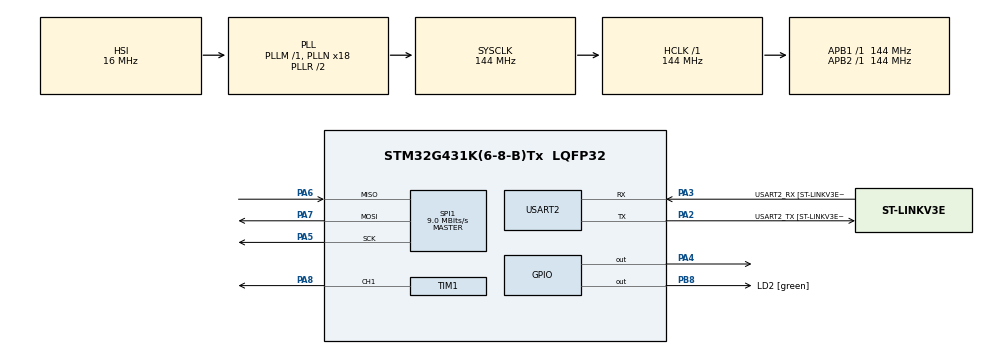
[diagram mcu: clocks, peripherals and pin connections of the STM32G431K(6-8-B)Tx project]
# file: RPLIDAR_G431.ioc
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FATFS._MAX_SS=4096
FATFS._USE_LFN=1
Mcu.Family=STM32G4
Mcu.Name=STM32G431K(6-8-B)Tx
Mcu.Package=LQFP32
NVIC.PriorityGroup=NVIC_PRIORITYGROUP_4
PA13.GPIO_Label=T_SWDIO
PA13.Mode=Serial_Wire
PA13.Signal=SYS_JTMS-SWDIO
PA14.GPIO_Label=T_SWCLK
PA14.Mode=Serial_Wire
PA14.Signal=SYS_JTCK-SWCLK
PA2.GPIO_Label=USART2_TX [ST-LINKV3E_VCP_RX]
PA2.Mode=Asynchronous
PA2.Signal=USART2_TX
PA3.GPIO_Label=USART2_RX [ST-LINKV3E_VCP_TX]
PA3.Mode=Asynchronous
PA3.Signal=USART2_RX
PA4.Signal=GPIO_Output
PA5.Mode=Full_Duplex_Master
PA5.Signal=SPI1_SCK
PA6.Mode=Full_Duplex_Master
PA6.Signal=SPI1_MISO
PA7.Mode=Full_Duplex_Master
PA7.Signal=SPI1_MOSI
PA8.Signal=S_TIM1_CH1
PB8-BOOT0.GPIO_Label=LD2 [green]
PB8-BOOT0.Signal=GPIO_Output
ProjectManager.HeapSize=0x200
ProjectManager.StackSize=0x400
ProjectManager.TargetToolchain=STM32CubeIDE
RCC.ADC12Freq_Value=144000000
RCC.AHBFreq_Value=144000000
RCC.APB1Freq_Value=144000000
RCC.APB1TimFreq_Value=144000000
RCC.APB2Freq_Value=144000000
RCC.APB2TimFreq_Value=144000000
RCC.CortexFreq_Value=144000000
RCC.EXTERNAL_CLOCK_VALUE=12288000
RCC.HCLKFreq_Value=144000000
RCC.HSE_VALUE=8000000
RCC.HSI48_VALUE=48000000
RCC.HSI_VALUE=16000000
RCC.LSE_VALUE=32768
RCC.PLLN=18
RCC.SYSCLKFreq_VALUE=144000000
RCC.SYSCLKSource=RCC_SYSCLKSOURCE_PLLCLK
RCC.USBFreq_Value=144000000
RCC.VCOOutputFreq_Value=288000000
SH.S_TIM1_CH1.0=TIM1_CH1,PWM Generation1 CH1
SPI1.BaudRatePrescaler=SPI_BAUDRATEPRESCALER_16
SPI1.CalculateBaudRate=9.0 MBits/s
SPI1.DataSize=SPI_DATASIZE_8BIT
SPI1.Direction=SPI_DIRECTION_2LINES
SPI1.Mode=SPI_MODE_MASTER
SPI1.VirtualType=VM_MASTER
TIM1.AutoReloadPreload=TIM_AUTORELOAD_PRELOAD_ENABLE
TIM1.Channel-PWM\ Generation1\ CH1=TIM_CHANNEL_1
TIM1.PeriodNoDither=5760-1
USART2.VirtualMode-Asynchronous=VM_ASYNC
VP_FATFS_VS_Generic.Mode=User_defined
VP_SYS_VS_DBSignals.Mode=DisableDeadBatterySignals
VP_TIM1_VS_ClockSourceINT.Mode=Internal
board=NUCLEO-G431KB

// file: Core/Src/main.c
/* USER CODE BEGIN Header */
/**
  ******************************************************************************
  * @file           : main.c
  * @brief          : Main program body
  ******************************************************************************
  * @attention
  *
  * Copyright (c) 2022 STMicroelectronics.
  * All rights reserved.
  *
  * This software is licensed under terms that can be found in the LICENSE file
  * in the root directory of this software component.
  * If no LICENSE file comes with this software, it is provided AS-IS.
  *
  ******************************************************************************
  */
/* USER CODE END Header */
#include "main.h"
#include "app_fatfs.h"

/* USER CODE BEGIN Includes */
#include "math.h"
#include "uart_buf_g4.h"
#include "string.h"
#include "fatfs_sd.h"
#include "stdio.h"
/* USER CODE END Includes */

/* USER CODE BEGIN PD */
#define STOP_RPL            0x25
#define RESET_RPL           0x40
#define SCAN_RPL            0x20
#define FORCE_SCAN_RPL      0x21
#define GET_INFO_RPL        0x50
#define GET_HEALTH_RPL      0x52
#define GET_SAMPLERATE_RPL  0x59
#define GET_LIDAR_CONF_RPL  0x84
/*StarFlags*/
#define START_FLAG_1         0xA5
#define START_FLAG_2         0x5A
/*Tamaños del buffer*/
/* USER CODE END PD */

SPI_HandleTypeDef hspi1;

TIM_HandleTypeDef htim1;

UART_HandleTypeDef huart2;

/* USER CODE BEGIN PV */
// MainBuf[MainBuf_SIZE];
uint8_t ReceivingData=false;
bool Aflag=true;
//char MainBuf[MainBuf_SIZE];
char StrBufA[205*20];
char StrBufB[205*20];
char MainBuf[5];
char chars_buf[40];
uint8_t n_points=0;

const uint8_t STOP_REQUEST[2]={START_FLAG_1,STOP_RPL};
const uint8_t RESET_REQUEST[2]={START_FLAG_1,RESET_RPL};
const uint8_t SCAN_REQUEST[2]={START_FLAG_1,SCAN_RPL};
const uint8_t SCAN_DESCRIPTOR[7]={START_FLAG_1,START_FLAG_2,0x05,0x00,0x00,0x40,0x81};
const uint8_t EXPRESS_SCAN_REQUEST[9]={START_FLAG_1,0x82,0x05,0x00,0x00,0x00,0x00,0x00,0x22};
const uint8_t EXPRESS_SCAN_DESCRIPTOR[7]={START_FLAG_1,START_FLAG_2,0x54,0x00,0x00,0x40,0x82};
const uint8_t GET_HEALTH_REQUEST[2]={START_FLAG_1,GET_HEALTH_RPL};
const uint8_t GET_HEALTH_DESCRIPTOR[7]={START_FLAG_1,START_FLAG_2,0x03,0x00,0x00,0x00,0x06};
const uint8_t GET_INFO_REQUEST[2]={START_FLAG_1,GET_INFO_RPL};
const uint8_t GET_INFO_DESCRIPTOR[7]={START_FLAG_1,START_FLAG_2,0x14,0x00,0x00,0x00,0x04};
const uint8_t GET_SAMPLERATE_REQUEST[2]={START_FLAG_1,GET_SAMPLERATE_RPL};
const uint8_t GET_SAMPLERATE_DESCRIPTOR[7]={START_FLAG_1,START_FLAG_2,0x4,0x00,0x00,0x00,0x15};
const uint8_t FORCE_SCAN_REQUEST[7]={START_FLAG_1,FORCE_SCAN_RPL};

/*Variables involucradas para la SD*/
FATFS fs;  // file system
FIL fil; // File
FRESULT fresult;  // result
UINT br, bw;  // File read/write count

// *************************** //
uint8_t opcion;
/* USER CODE END PV */

void SystemClock_Config(void);
static void MX_GPIO_Init(void);
static void MX_TIM1_Init(void);
static void MX_USART2_UART_Init(void);
static void MX_SPI1_Init(void);
/* USER CODE BEGIN PFP */

void setMotorDutyCycle(float duty){
	HAL_TIM_PWM_Stop(&htim1, TIM_CHANNEL_1);
	HAL_Delay(3);
	if (duty!=0){
		//El ARR tiene como valor máximo 6800@170Mhz
		TIM1->CCR1 = (uint32_t)duty*57.6;
		//TIM1->CCR1 = (uint32_t)duty*64.0;
		HAL_TIM_PWM_Start(&htim1, TIM_CHANNEL_1);
		HAL_Delay(3);
	}
}
void SEND_STOP_REQUEST(){
	//Enviamos el comando por uart
	setMotorDutyCycle(0);
	UART1buf_putn(STOP_REQUEST,2);
	//Delay >2ms para poder enviar otro request
	HAL_Delay(2);
}
void SEND_RESET_REQUEST(){
	//Enviamos el comando por uart
	UART1buf_putn(RESET_REQUEST,2);
	//Esperamos a recibir la data basura
	while(UART1buf_available()==0);
	//Delay >20ms para poder recibir toda la data basura
	HAL_Delay(50);
	//Limpiamos la data basura
	UART1buf_flushRx();
}
void SEND_GET_SAMPLERATE(){
	unsigned int temp;
	char charBuf[40];
	//Enviamos el comando por uart
	LPUART1buf_puts("Enviando comando GET_SAMPLERATE\n\r");
	UART1buf_putn(GET_SAMPLERATE_REQUEST,2);
	//Comenzamos a recibir los primeros 7 valores y verificamos si hay error
	for (int i=0;i<7;i++){
		while(UART1buf_peek()<0);
		if (GET_SAMPLERATE_DESCRIPTOR[i]!=UART1buf_getc()){
			LPUART1buf_puts((char*)"Error\n");
			//Enviar nuevamente el comando

			//Analizar si está en protección
			while(1);
		}
	}
	//Recibimos el T standard
	while(UART1buf_peek()<0);
	temp=UART1buf_getc();
	while(UART1buf_peek()<0);
	temp=(UART1buf_getc()<<8)|temp;
	//enviamos el Tstandar
	sprintf(charBuf,"Tiempo standard: %d us\n\r",temp);
	//Recibimos el T express
	LPUART1buf_puts(charBuf);
	while(UART1buf_peek()<0);
	temp=UART1buf_getc();
	while(UART1buf_peek()<0);
	temp=(UART1buf_getc()<<8)|temp;
	//enviamos el Texpress
	sprintf(charBuf,"Tiempo express: %d us\n\r",temp);
	LPUART1buf_puts(charBuf);
	HAL_Delay(50);
}
void SEND_GET_HEALTH(){
	unsigned int temp;
	char charBuf[40];
	//Enviamos el comando por uart
	LPUART1buf_puts("Enviando comando GET_HEALTH\n\r");
	UART1buf_putn(GET_HEALTH_REQUEST,2);
	//Comenzamos a recibir los primeros 7 valores y verificamos si hay error
	for (int i=0;i<7;i++){
		while(UART1buf_peek()<0);
		if (GET_HEALTH_DESCRIPTOR[i]!=UART1buf_getc()){
			LPUART1buf_puts((char*)"Error\n");
			//Enviar nuevamente el comando

			//Analizar si está en protección
			while(1);
		}
	}
	//Recibimos el status
	while(UART1buf_peek()<0);
	temp=UART1buf_getc();
	if (temp==0){
		LPUART1buf_puts("Todo en orden!\n\r");
		while(UART1buf_peek()<0);
		UART1buf_getc();
		while(UART1buf_peek()<0);
		UART1buf_getc();
	}
	//Warning
	else if (temp==1){
		LPUART1buf_puts("Advertencia: ");
		while(UART1buf_peek()<0);
		temp=UART1buf_getc();
		while(UART1buf_peek()<0);
		temp=(UART1buf_getc()<<8)|temp;
		sprintf(charBuf,"code %d\n\r",temp);
		LPUART1buf_puts(charBuf);

	}
	//
	else{
		LPUART1buf_puts("Error: ");
		while(UART1buf_peek()<0);
		temp=UART1buf_getc();
		while(UART1buf_peek()<0);
		temp=(UART1buf_getc()<<8)|temp;
		sprintf(charBuf,"code %d\n\r",temp);
		LPUART1buf_puts(charBuf);
	}
	HAL_Delay(50);
}
void SEND_GET_LIDAR_CONF(){
	/*Realizaremos varios request*/
	uint8_t charBuf[40];
	/***************************/
	//Enviamos el comando por uart
	LPUART1buf_puts("RPLIDAR_CONF_SCAN_MODE_TYPICAL\n\r");
	charBuf[0]=START_FLAG_1;
	charBuf[1]=0x84;
	charBuf[2]=0x04;//tamaño
	charBuf[3]=0x00;//type
	charBuf[4]=0x00;//type
	charBuf[5]=0x00;//type
	charBuf[6]=0x7C;//type
	charBuf[7]=0x59;//checksum
	UART1buf_putn(charBuf,8);
	//Definimos el descriptor y el tipo
	charBuf[0]=START_FLAG_1;
	charBuf[1]=START_FLAG_2;
	charBuf[2]=0x04;//tamaño del request
	charBuf[3]=0x00;
	charBuf[4]=0x00;
	charBuf[5]=0x00;
	charBuf[6]=0x20;
	charBuf[7]=0x00;//type
	charBuf[8]=0x00;//type
	charBuf[9]=0x00;//type
	charBuf[10]=0x7C;//type

	//Comenzamos a recibir los primeros 7+4 valores y verificamos si hay error
	for (int i=0;i<11;i++){
		while(UART1buf_peek()<0);
		if (charBuf[i]!=UART1buf_getc()){
			LPUART1buf_puts((char*)"Error 0\n");
			//Enviar nuevamente el comando

			//Analizar si está en protección
			while(1);
		}
	}
	LPUART1buf_puts("No value received\n\r");
	//while(UART1buf_peek()<0);
	//temp=UART1buf_getc();
	//while(UART1buf_peek()<0);
	//temp=(UART1buf_getc()<<8)|temp;
	//sprintf(charBuf,"ID: %d \n\r",temp);
	//LPUART1buf_puts(charBuf);
	HAL_Delay(50);
	/***************************/
	//Enviamos el comando por uart
	LPUART1buf_puts("RPLIDAR_CONF_SCAN_MODE_COUNT\n\r");
	charBuf[0]=START_FLAG_1;
	charBuf[1]=0x84;
	charBuf[2]=0x04;//tamaño
	charBuf[3]=0x00;//type
	charBuf[4]=0x00;//type
	charBuf[5]=0x00;//type
	charBuf[6]=0x70;//type
	charBuf[7]=0x55;//checksum
	UART1buf_putn(charBuf,8);
	//Definimos el descriptor y el tipo
	charBuf[0]=START_FLAG_1;
	charBuf[1]=START_FLAG_2;
	charBuf[2]=0x04;//tamaño response
	charBuf[3]=0x00;
	charBuf[4]=0x00;
	charBuf[5]=0x00;
	charBuf[6]=0x20;
	charBuf[7]=0x00;//type
	charBuf[8]=0x00;//type
	charBuf[9]=0x00;//type
	charBuf[10]=0x70;//type

	//Comenzamos a recibir los primeros 7+4 valores y verificamos si hay error
	for (int i=0;i<11;i++){
		while(UART1buf_peek()<0);
		if (charBuf[i]!=UART1buf_getc()){
			LPUART1buf_puts((char*)"Error 1\n");
			//Enviar nuevamente el comando

			//Analizar si está en protección
			while(1);
		}
	}
	LPUART1buf_puts("No value received\n\r");
	//LPUART1buf_puts("N. modos: 0");
	//while(UART1buf_peek()<0);
	//temp=UART1buf_getc();
	//while(UART1buf_peek()<0);
	//temp=(UART1buf_getc()<<8)|temp;
	//sprintf(charBuf,"%d\n\r",temp-1);
	//LPUART1buf_puts(charBuf);
	HAL_Delay(50);
	/***************************/
	//Enviamos el comando por uart
	LPUART1buf_puts("RPLIDAR_CONF_SCAN_MODE_US_PER_SAMPLE\n\r");
	charBuf[0]=START_FLAG_1;
	charBuf[1]=0x84;
	charBuf[2]=0x06;//tamaño
	charBuf[3]=0x00;//type
	charBuf[4]=0x00;//type
	charBuf[5]=0x00;//type
	charBuf[6]=0x71;//type
	charBuf[7]=0x00;//payload
	charBuf[8]=0x00;//payload
	charBuf[9]=0x56;//checksum
	UART1buf_putn(charBuf,10);
	//Definimos el descriptor y el tipo
	charBuf[0]=START_FLAG_1;
	charBuf[1]=START_FLAG_2;
	charBuf[2]=0x04;//tamaño del request
	charBuf[3]=0x00;
	charBuf[4]=0x00;
	charBuf[5]=0x00;
	charBuf[6]=0x20;
	charBuf[7]=0x00;//type
	charBuf[8]=0x00;//type
	charBuf[9]=0x00;//type
	charBuf[10]=0x71;//type

	//Comenzamos a recibir los primeros 7+4 valores y verificamos si hay error
	for (int i=0;i<11;i++){
		while(UART1buf_peek()<0);
		if (charBuf[i]!=UART1buf_getc()){
			LPUART1buf_puts((char*)"Error 2\n");
			//Enviar nuevamente el comando

			//Analizar si está en protección
			while(1);
		}
	}
	LPUART1buf_puts("No value received\n\r...\n\r");
	//while(UART1buf_peek()<0);
	//temp=UART1buf_getc();
	//while(UART1buf_peek()<0);
	//temp=(UART1buf_getc()<<8)|temp;
	//while(UART1buf_peek()<0);
	//temp=(UART1buf_getc()<<8)|temp;
	//while(UART1buf_peek()<0);
	//temp=(UART1buf_getc()<<8)|temp;
	//sprintf(charBuf,"%d \n\r",temp);
	//LPUART1buf_puts(charBuf);
	HAL_Delay(50);
}
uint8_t  BinToAsc(uint8_t  BinValue)
{
	//tomamos los 4 bits menos significativos
    BinValue &= 0x0F;
    //hacemos la conversion
    if(BinValue > 9) BinValue += 7;
    return(BinValue + '0');
}
void SEND_GET_INFO(){
	unsigned int temp,temp_aux_1;
	char charBuf[40];
	//Enviamos el comando por uart
	LPUART1buf_puts("Enviando comando GET_INFO\n\r");
	UART1buf_putn(GET_INFO_REQUEST,2);
	//Comenzamos a recibir los primeros 7 valores y verificamos si hay error
	for (int i=0;i<7;i++){
		while(UART1buf_peek()<0);
		if (GET_INFO_DESCRIPTOR[i]!=UART1buf_getc()){
			LPUART1buf_puts((char*)"Error\n");
			//Enviar nuevamente el comando

			//Analizar si está en protección
			while(1);
		}
	}
	//Recibimos el modelo
	while(UART1buf_peek()<0);
	temp=UART1buf_getc();
	sprintf(charBuf,"modelo: %d\n\r",temp);
	LPUART1buf_puts(charBuf);
	while(UART1buf_peek()<0);
	temp_aux_1=UART1buf_getc();
	while(UART1buf_peek()<0);
	temp=UART1buf_getc();
	sprintf(charBuf,"firmware: %d.%d\n\r",temp,temp_aux_1);
	LPUART1buf_puts(charBuf);
	while(UART1buf_peek()<0);
	temp=UART1buf_getc();
	sprintf(charBuf,"hardware: %d\n\r",temp);
	LPUART1buf_puts(charBuf);
	LPUART1buf_puts("Serial number: ");
	for (int z=0;z<16;z++){
		while(UART1buf_peek()<0);
		temp=UART1buf_getc();
		charBuf[z*2+0]=BinToAsc((temp>>4));
		charBuf[z*2+1]=BinToAsc(temp);
	}
	charBuf[32]='\0';
	LPUART1buf_puts(charBuf);
	LPUART1buf_puts("\n\r");
	HAL_Delay(50);
}
//
//void SEND_EXPRESS_SCAN(){
//	uint8_t sync,ChkSum_lidar,ChkSum;
//	uint8_t dtheta_1,dtheta_2;
//	uint16_t start_angle_q6,dist_1,dist_2;
//	//bool S;
//	float wi,wip1,angle,distance;//x,y;
//	//Ahora encendemos el motor
//	setMotorDutyCycle(60);
//	UART1buf_flushRx();
//	//Enviamos el comando por uart
//	UART1buf_putn(EXPRESS_SCAN_REQUEST,9);
//	//Comenzamos a recibir los primeros 7 valores y verificamos si hay error
//	for (int i=0;i<7;i++){
//		while(UART1buf_peek()<0);
//		if (EXPRESS_SCAN_DESCRIPTOR[i]!=UART1buf_getc()){
//			LPUART1buf_puts((char*)"Error EXPRESS SCAN\n");
//			//Enviar nuevamente el comando
//
//			//Analizar si está en protección
//			while(1);
//		}
//	}
//	//Procedemos a decodificar un paquete de 32 muestras del LIDAR
//	ChkSum=0;
//	while(UART1buf_peek()<0);
//	ChkSum^=UART1buf_peek();
//	sync=(UART1buf_peek()&0xF0);
//	ChkSum_lidar=UART1buf_getc()&0x0F;
//	while(UART1buf_peek()<0);
//	ChkSum^=UART1buf_peek();
//	sync|=(UART1buf_peek()>>4);
//	ChkSum_lidar|=(UART1buf_getc()<<4);
//	while(UART1buf_peek()<0);
//	ChkSum^=UART1buf_peek();
//	start_angle_q6=UART1buf_getc();
//	while(UART1buf_peek()<0);
//	ChkSum^=UART1buf_peek();
//	S=UART1buf_peek()>>7;
//	start_angle_q6|=(UART1buf_getc()<<8)&0x7F;
//	wi=(float)start_angle_q6/64.0;
//	//Debemos analizar la siguiente banderaif (S)
//	if (sync!=0xA5){
//		//Procedemos a recibir las 16 cabinas copn 32 muestras
//		for (int k=0;k<16;k++){
//			while(UART1buf_peek()<0);
//			ChkSum^=UART1buf_peek();
//			dtheta_1=((UART1buf_peek())<<4);
//			dist_1=(UART1buf_getc()>>2);
//			while(UART1buf_peek()<0);
//			ChkSum^=UART1buf_peek();
//			dist_1|=(UART1buf_getc()>>6);
//			while(UART1buf_peek()<0);
//			ChkSum^=UART1buf_peek();
//			dtheta_2=((UART1buf_peek())<<4);
//			dist_2=(UART1buf_getc()>>2);
//			while(UART1buf_peek()<0);
//			ChkSum^=UART1buf_peek();
//			dist_2|=(UART1buf_getc()>>6);
//			while(UART1buf_peek()<0);
//			ChkSum^=UART1buf_peek();
//			dtheta_1|=UART1buf_peek()&0x0F;
//			dtheta_2|=(UART1buf_getc()>>4);
//			ValBuf[k*4+0]=dtheta_1;
//			ValBuf[k*4+1]=dist_1;
//			ValBuf[k*4+2]=dtheta_2;
//			ValBuf[k*4+3]=dist_2;
//		}
//		//Chequeamos si el Checksum es correcto.
//
//	}else{
//		//error comunicacion
//		while(1);
//	}
//	//Para poder procesar necesitamos el ángulo del siguiente estado wi+1
//	while(1){
//		ChkSum=0;
//		while(UART1buf_peek()<0);
//		ChkSum^=UART1buf_peek();
//		sync=(UART1buf_peek()&0xF0);
//		ChkSum_lidar=UART1buf_getc()&0x0F;
//		while(UART1buf_peek()<0);
//		ChkSum^=UART1buf_peek();
//		sync|=(UART1buf_peek()>>4);
//		ChkSum_lidar|=(UART1buf_getc()<<4);
//		while(UART1buf_peek()<0);
//		ChkSum^=UART1buf_peek();
//		start_angle_q6=UART1buf_getc();
//		while(UART1buf_peek()<0);
//		ChkSum^=UART1buf_peek();
//		S=UART1buf_peek()>>7;
//		start_angle_q6|=(UART1buf_getc()<<8)&0x7F;
//		wip1=(float)start_angle_q6/64.0;
//		//Debemos analizar sync,ChkSum y S
//
//		//...Continuar aqui. Falta decodificar la data con el AngleDiff
//
//		//if (butonpressed){
//		//	break
//		//}
//	}
//
//
//
//
//}
//
/***************************************************************/
/** @brief Proponemos usar un buffer que almacene los valores
 * float de x e y. Para luego, de tener un SCAN. Enviar los datos
 * a la SD. El envío a la tarjeta SD será cada 100 ms aprox, es
 * decir. Luego de completar un SCAN (que se verifica con el S
 * flag), enviamos archivos.
 *
 *
 */
//oid SAVE_DATA_bufdouble(){
//	//Define variables
//	float angle,distance,x,y;
//	uint8_t C,S,first_point_set;
//	unsigned int temp,index=0,wrong_points=0;
//	uint8_t chars_buf[40];
//	//Primero para crear el archivo en donde almacenaremos la data, debemos eliminar el existente
//	f_unlink("/data.csv");
//	//Ahora lo creamos
//	while(f_open(&fil, "data.csv", FA_OPEN_ALWAYS | FA_READ | FA_WRITE)!= FR_OK);
//	//Escribimos la primera línea
//	while(f_write(&fil, "Data a almacenar [x,y]:\n",sizeof("Data a almacenar [x,y]:\n") , &bw)!= FR_OK);
//	//Ahora encendemos el motor
//	setMotorDutyCycle(60);
//	//HAL_GPIO_TogglePin(LD2_GPIO_Port, LD2_Pin);
//	HAL_Delay(70);
//	//HAL_GPIO_TogglePin(LD2_GPIO_Port, LD2_Pin);
//	//Limpiamos el buffer de Recepción
//	UART1buf_flushRx();
//	//Enviamos el comando por uart
//	UART1buf_putn(SCAN_REQUEST,2);
//	//Comenzamos a recibir los primeros 7 valores y verificamos si hay error
//	for (int i=0;i<7;i++){
//		while(UART1buf_peek()<0);
//		if (SCAN_DESCRIPTOR[i]!=UART1buf_getc()){
//			LPUART1buf_puts((char*)"Error\nA5-5A-05-00-00-40-81\n\r");
//			//Enviar nuevamente el comando
//
//			//Analizar si está en protección
//			while(1);
//		}
//	}
//	//Procedemos a recibir la data del RPLIDAR hasta obtener el punto de inicio de SCAN y guardamos en SD
//	while(1){
//		while(UART1buf_peek()<0);
//		/****Decodificamos la bandera Flag****/
//		S=UART1buf_getc()&0x03;
//		if (S==0x01){
//			/****Decodificamos el checkbit****/
//			while(UART1buf_peek()<0);
//			chars_buf[1]=
//			C=UART1buf_peek()&0x01;
//			if (C){
//				/****Decodificamos el Angle****/
//				//Desplazamos los bits
//				temp=(UART1buf_getc()>>1);
//				temp|=(UART1buf_getc()<<7);
//				angle=(float)temp/64.0;
//				angle=angle*M_PI/180.0;
//				/****Decodificamos la distancia****/
//				//Desplazamos los bits
//				temp=UART1buf_getc();
//				temp|=(UART1buf_getc()<<8);
//				distance=(float)temp/4.0;
//				///Procedemos a convertir en coordenadas cartesianas
//				ValBuf[index*2+0]=distance*cosf(angle+M_PI_2);
//				ValBuf[index*2+1]=distance*sinf(angle+M_PI_2);
//				index++;
//				first_point_set=false;
//				break;
//			}
//			else{
//				//No sirve dato
//				while(UART1buf_peek()<0);
//				UART1buf_getc();
//				while(UART1buf_peek()<0);
//				UART1buf_getc();
//				while(UART1buf_peek()<0);
//				UART1buf_getc();
//				while(UART1buf_peek()<0);
//				UART1buf_getc();
//			}
//		}else{
//			//No sirve dato
//			for (int i=0;i<4;i++){
//				while(UART1buf_peek()<0);
//				UART1buf_getc();
//			}
//		}
//	}
//	while(1){
//		while(UART1buf_peek()<0);
//		/****Decodificamos la bandera Flag****/
//		S=UART1buf_getc()&0x03;
//		if ((S==(0x01))||(S==(0x02))){
//			if (S==(0x01)){
//				first_point_set=true;
//			}
//			/****Decodificamos el checkbit****/
//			while(UART1buf_peek()<0);
//
//			if (UART1buf_peek()&0x01){
//				/****Decodificamos el Angle****/
//				//Desplazamos los bits
//				temp=(UART1buf_getc()>>1);
//				temp|=(UART1buf_getc()<<7);
//				angle=(float)temp/64.0;
//				angle=angle*M_PI/180.0;
//				/****Decodificamos la distancia****/
//				//Desplazamos los bits
//				temp=UART1buf_getc();
//				temp|=(UART1buf_getc()<<8);
//				distance=(float)temp/4.0;
//				///Procedemos a convertir en coordenadas cartesianas
//				ValBuf[index*2+0]=distance*cosf(angle+M_PI_2);
//				ValBuf[index*2+1]=distance*sinf(angle+M_PI_2);
//				index++;
//			}
//			else{
//				//Dato errado
//				UART1buf_getc();
//				while(UART1buf_peek()<0);
//				UART1buf_getc();
//				while(UART1buf_peek()<0);
//				UART1buf_getc();
//				while(UART1buf_peek()<0);
//				UART1buf_getc();
//				wrong_points++;
//			}
//		}else{
//			//Dato errado
//			for (int i=0;i<5;i++){
//				while(UART1buf_peek()<0);
//				UART1buf_getc();
//			}
//			wrong_points++;
//		}
//		//Si terminamos un SCAN procesamos y enviamos a la SD
//		if (first_point_set){
//			first_point_set=false;
//			x=ValBuf[index*2-2];
//			y=ValBuf[index*2-1];
//			//escribimos en la SD
//			for(int z=0;z<index;z++){
//				sprintf(chars_buf,"%.3f,%.3f\n",ValBuf[z*2+0],ValBuf[z*2+0]);
//				while(f_lseek(&fil, f_size(&fil))!= FR_OK);
//				f_puts(chars_buf, &fil);
//			}
//			for(int z=0;z<wrong_points;z++){
//				while(f_lseek(&fil, f_size(&fil))!= FR_OK);
//				f_puts("NaN,NaN\n", &fil);
//			}
//			wrong_points=0;
//			ValBuf[0]=x;
//			ValBuf[1]=y;
//			index=1;
//			//read aditional data to sync
//			for(int z=0;z<7*5;z++){
//				while(UART1buf_peek()<0);
//				UART1buf_getc();
//			}
//		}
//		//Verificamos estado del butón
//		if (HAL_GPIO_ReadPin(GPIOB, GPIO_PIN_4)){
//			HAL_Delay(50);
//			//Cerramos el archivo
//			f_close(&fil);
//			//Salimos del while
//			break;
//		}
//	}
//	///* Unmount SDCARD */
//	while(f_mount(NULL, "/", 1)!= FR_OK);
//	LPUART1buf_puts ("SD CARD UNMOUNTED successfully, puedes retirar la tarjeta\n\r");
//	//Mandamos el comando de STOP
//	UART1buf_putn(STOP_REQUEST, 2);
//	//Detenemos el motor
//	setMotorDutyCycle(0);
//	HAL_Delay(2);
//	//Borramos data del buffer
//	UART1buf_flushRx();
//	//Enviamos "fin de SAVE_SCAN_DATA"
//	LPUART1buf_puts ("Fin de la operación\n\r");
//
//
//
///************************************************************/
/*void float_to_char(float f, char *p) {
	int a,b,c,k,l=0,m,i=0;
	// check for negetive float
	if(f<0.0)
	{
		p[i++]='-';
		f*=-1;
	}
	a=f;	// extracting whole number
	f-=a;	// extracting decimal part
	k = precision;
	// number of digits in whole number
	while(k>-1)
	{
		l = pow(10,k);
		m = a/l;
		if(m>0)
		{
			break;
		}
	k--;
	}
	// number of digits in whole number are k+1

	//extracting most significant digit i.e. right most digit , and concatenating to string
	//obtained as quotient by dividing number by 10^k where k = (number of digit -1)

	for(l=k+1;l>0;l--)
	{
		b = pow(10,l-1);
		c = a/b;
		p[i++]=c+48;
		a%=b;
	}
	p[i++] = '.';
	// extracting decimal digits till precision
	for(l=0;l<precision;l++)
	{
		f*=10.0;
		b = f;
		p[i++]=b+48;
		f-=b;
	}
	p[i]='\0';
}*/
void SAVE_SCAN_DATA(){
	if ((opcion!='1')&&(opcion!='2')&&(opcion!='3')&&(opcion!='0')&&(opcion!='4')){
		return;
	}
	//Define variables
	uint16_t temp;
	float angle,distance;
	float x,y;
	uint8_t n_bytes=0;
	StrBufA[0]='\0';
	StrBufB[0]='\0';
	//Primero para crear el archivo en donde almacenaremos la data, debemos eliminar el existente
	f_unlink("/test.csv");
	//Ahora lo creamos
	while(f_open(&fil, "test.csv", FA_OPEN_ALWAYS | FA_READ | FA_WRITE)!= FR_OK);
	//Escribimos la primera línea
	while(f_write(&fil, "Data a almacenar [x,y]:\n",sizeof("Data a almacenar [x,y]:\n") , &bw)!= FR_OK);
	//Ahora encendemos el motor
	setMotorDutyCycle(50);
	//Limpiamos el buffer de Recepción
	UART1buf_flushRx();
	//Enviamos el comando por uart
	UART1buf_putn(SCAN_REQUEST,2);
	//Comenzamos a recibir los primeros 7 valores y verificamos si hay error
	for (int i=0;i<7;i++){
		//while(!UART1buf_available());
		while(UART1buf_peek()<0);
		if (SCAN_DESCRIPTOR[i]!=UART1buf_getc()){
			LPUART1buf_puts((char*)"Error\nA5-5A-05-00-00-40-81\n\r");
			//Enviar nuevamente el comando

			//Analizar si está en protección
			while(1);
		}
	}
	ReceivingData=true;
/********************************************************************/
	while(opcion=='0'){//usando peek
		if (!(UART1buf_peek()<0)){
			//Hay dato,lo guardamos
			HAL_GPIO_WritePin(LD2_GPIO_Port, LD2_Pin,0);
			MainBuf[n_points]=UART1buf_getc();
			n_points++;
			f_lseek(&fil, f_size(&fil));
		}
		if (n_points>4){
			//Tenemos ya 5 datos para procesar
			n_points=0;
			if((((MainBuf[0]&0x03)==1)||((MainBuf[0]&0x03)==2))&&((MainBuf[1]&0x01)==1)){
				HAL_GPIO_WritePin(LD2_GPIO_Port, LD2_Pin,1);
				temp=(MainBuf[1]>>1)&0x7F;
				temp|=(MainBuf[2]<<7);
				angle=(float)temp/64.0;
				//angle=temp;
				angle=angle*M_PI/180.0;
				// ******Decodificamos la distancia****  //
				//Desplazamos los bits
				temp=MainBuf[3];
				temp|=(MainBuf[4]<<8);
				distance=(float)temp/4.0;
				//distance=temp;
				//Procedemos a convertir en coordenadas cartesianas
				x=distance*cosf(angle+M_PI_2);
				y=distance*sinf(angle+M_PI_2);
				//Realizamos la conversión float a string
				sprintf(chars_buf,"%.3f,%.3f\n",x,y);
				HAL_GPIO_WritePin(LD2_GPIO_Port, LD2_Pin,0);
			}else{
				StrBufA[0]='I';
				StrBufA[1]='n';
				StrBufA[2]='f';
				StrBufA[3]=',';
				StrBufA[4]='I';
				StrBufA[5]='n';
				StrBufA[6]='f';
				StrBufA[7]='\n';
			}
		}

		if (LPUART1buf_peek()>0){
			LPUART1buf_puts("Deteniendo SCAN\n\r");
			//Cerramos el archivo
			f_close(&fil);
			ReceivingData=false;
			//Salimos del while
			break;
		}
	}
	while(opcion=='1'){//Solo vemos el punto de inicio de SCAN
		if (!(UART1buf_peek()<0)){
			//Hay dato,lo guardamos
			HAL_GPIO_WritePin(LD2_GPIO_Port, LD2_Pin,0);
			MainBuf[n_points]=UART1buf_getc();
			n_points++;
		}
		if (n_points>4){
			//Tenemos ya 5 datos para procesar
			n_points=0;
			if (((MainBuf[0]&0x03)==1)&&((MainBuf[1]&0x01)==1)){
				HAL_GPIO_WritePin(LD2_GPIO_Port, LD2_Pin,1);
				temp=(MainBuf[1]>>1)&0x7F;
				temp|=(MainBuf[2]<<7);
				angle=(float)temp/64.0;
				//angle=temp;
				angle=angle*M_PI/180.0;
				// ******Decodificamos la distancia****  //
				//Desplazamos los bits
				temp=MainBuf[3];
				temp|=(MainBuf[4]<<8);
				distance=(float)temp/4.0;
				//distance=temp;
				//Procedemos a convertir en coordenadas cartesianas
				x=distance*cosf(angle+M_PI_2);
				y=distance*sinf(angle+M_PI_2);
				//Realizamos la conversión float a string
				sprintf(chars_buf,"%.3f,%.3f\n",x,y);
				/*
				float_to_char(x,chars_buf);
				StrBufA[0]='\0';
				strcat(StrBufA,chars_buf);
				strcat(StrBufA,",");
				float_to_char(y,chars_buf);
				strcat(StrBufA,chars_buf);
				strcat(StrBufA,"\n");*/
				HAL_GPIO_WritePin(LD2_GPIO_Port, LD2_Pin,0);
			}
		}
		if (LPUART1buf_peek()>0){
			LPUART1buf_puts("Deteniendo SCAN\n\r");
			//Cerramos el archivo
			f_close(&fil);
			//Salimos del while
			break;
		}
	}
	HAL_GPIO_WritePin(LD2_GPIO_Port, LD2_Pin,1);
	while(opcion=='2'){//Recibe y guarda
		if (!(UART1buf_peek()<0)){
			//Hay dato,lo guardamos
			//HAL_GPIO_WritePin(LD2_GPIO_Port, LD2_Pin,1);
			MainBuf[n_bytes]=UART1buf_getc();
			n_bytes++;
		}
		if (n_bytes>4){
			//Tenemos ya 5 datos para procesar
			n_bytes=0;
			if((((MainBuf[0]&0x03)==1)||((MainBuf[0]&0x03)==2))&&((MainBuf[1]&0x01)==1)){
				HAL_GPIO_WritePin(LD2_GPIO_Port, LD2_Pin,1);
				temp=(MainBuf[1]>>1)&0x7F;
				temp|=(MainBuf[2]<<7);
				angle=(float)temp/64.0;
				angle=angle*M_PI/180.0;
				// ******Decodificamos la distancia****  //
				//Desplazamos los bits
				temp=MainBuf[3];
				temp|=(MainBuf[4]<<8);
				distance=(float)temp/4.0;
				//distance=temp;
				//Procedemos a convertir en coordenadas cartesianas
				x=distance*cosf(angle+M_PI_2);
				y=distance*sinf(angle+M_PI_2);
				//Realizamos la conversión float a string
				sprintf(chars_buf,"%.1f,%.1f\n",x,y);
			}else{
				chars_buf[0]='I';
				chars_buf[1]='n';
				chars_buf[2]='f';
				chars_buf[3]=',';
				chars_buf[4]='I';
				chars_buf[5]='n';
				chars_buf[6]='f';
				chars_buf[7]='\n';
				chars_buf[8]='\0';
			}
			n_points++;
			if (Aflag){
				strcat(StrBufA,chars_buf);
			}else{
				strcat(StrBufB,chars_buf);
			}
			HAL_GPIO_WritePin(LD2_GPIO_Port, LD2_Pin,0);
		}
		if((n_points>64)){
			n_points=0;
			if (Aflag){
				//Comenzamos a guardar en B
				Aflag=false;
				StrBufB[0]='\0';
				f_write(&fil, StrBufA, strlen(StrBufA),&bw);
			}else{
				//Comenzamos a guardar en A
				Aflag=true;
				StrBufA[0]='\0';
				f_write(&fil, StrBufB, strlen(StrBufB),&bw);
			}
		}
		if (!(LPUART1buf_peek()<0)){
			LPUART1buf_puts("Deteniendo SCAN\n\r");
			//Cerramos el archivo
			f_close(&fil);
			//Salimos del while
			break;
		}
	}
	HAL_GPIO_WritePin(LD2_GPIO_Port, LD2_Pin,0);
/**************************************************************/
	ReceivingData=false;
	LPUART1buf_getc();
	//Mandamos el comando de STOP
	UART1buf_putn(STOP_REQUEST, 2);
	//Detenemos el motor
	setMotorDutyCycle(0);
	HAL_Delay(2);
	//Borramos data del buffer
	UART1buf_flushRx();
	//Enviamos "fin de SAVE_SCAN_DATA"
	LPUART1buf_puts ("Fin de la operación\n\r");
}

/* USER CODE END PFP */

int main(void)
{

  /* MCU Configuration--------------------------------------------------------*/

  /* Reset of all peripherals, Initializes the Flash interface and the Systick. */
  HAL_Init();

  /* Configure the system clock */
  SystemClock_Config();

  /* Initialize all configured peripherals */
  MX_GPIO_Init();
  if (MX_FATFS_Init() != APP_OK) {
    Error_Handler();
  }
  MX_TIM1_Init();
  MX_USART2_UART_Init();
  MX_SPI1_Init();
  /* USER CODE BEGIN 2 */
  //Inicializamos los UARTs
  LPUART1buf_init(115200,SERIAL_8N1,0);
  UART1buf_init(256000,SERIAL_8N1,0);

  //Mount SD card
  LPUART1buf_puts("Intentando mounted SD CARD...\n\r");
  HAL_Delay (500);
  //fresult=f_mount(&fs, "/", 1);
  while (f_mount(&fs,"/", 1) != FR_OK);
  LPUART1buf_puts("SD CARD mounted successfully...\n\r");
  //Enviamos el comando de RESET
  SEND_RESET_REQUEST();//DESCOMENTAR LUEGO DE TEMRINAR CON EL SD
  /* USER CODE END 2 */

  /* Infinite loop */
  /* USER CODE BEGIN WHILE */
  while (1)
  {
	  //SEND_GET_SAMPLERATE();
	  SEND_GET_HEALTH();
	  //SEND_GET_LIDAR_CONF();
	  SEND_GET_INFO();
	  //SEND_EXPRESS_SCAN();

	  //Esperamos a que se presione el Boton
	  LPUART1buf_puts((char*)"Iniciamos:\n\r");
	  LPUART1buf_puts((char*)"0: usando peek\n\r");
	  LPUART1buf_puts((char*)"1: Vemos solo puntos de inicio\n\r");
	  LPUART1buf_puts((char*)"2: Recibe y guarda\n\r");
	  LPUART1buf_puts((char*)"3: Codigo Lalo\n\r");
	  while(LPUART1buf_peek()<0);
	  opcion=LPUART1buf_getc();
	  //LPUART1buf_flushRx();
	  LPUART1buf_puts((char*)"Mandamos SCAN request:\n\r");
	  //SAVE_DATA_bufdouble();
	  SAVE_SCAN_DATA();

	  LPUART1buf_puts((char*)"Desmount SD?:\n\r");
	  while(LPUART1buf_peek()<0);
	  opcion=LPUART1buf_getc();
	  if(opcion=='Y')
	  {/* Unmount SDCARD */
		while(f_mount(NULL, "/", 1)!= FR_OK);
		LPUART1buf_puts ("SD CARD UNMOUNTED successfully, puedes retirar la tarjeta\n\r");
		while(1);
	  }
	  //setMotorDutyCycle(60);
	  //while(1);
    /* USER CODE END WHILE */

  }
}

void SystemClock_Config(void)
{
  RCC_OscInitTypeDef RCC_OscInitStruct = {0};
  RCC_ClkInitTypeDef RCC_ClkInitStruct = {0};

  /** Configure the main internal regulator output voltage
  */
  HAL_PWREx_ControlVoltageScaling(PWR_REGULATOR_VOLTAGE_SCALE1);
  /** Initializes the RCC Oscillators according to the specified parameters
  * in the RCC_OscInitTypeDef structure.
  */
  RCC_OscInitStruct.OscillatorType = RCC_OSCILLATORTYPE_HSI;
  RCC_OscInitStruct.HSIState = RCC_HSI_ON;
  RCC_OscInitStruct.HSICalibrationValue = RCC_HSICALIBRATION_DEFAULT;
  RCC_OscInitStruct.PLL.PLLState = RCC_PLL_ON;
  RCC_OscInitStruct.PLL.PLLSource = RCC_PLLSOURCE_HSI;
  RCC_OscInitStruct.PLL.PLLM = RCC_PLLM_DIV1;
  RCC_OscInitStruct.PLL.PLLN = 18;
  RCC_OscInitStruct.PLL.PLLP = RCC_PLLP_DIV2;
  RCC_OscInitStruct.PLL.PLLQ = RCC_PLLQ_DIV2;
  RCC_OscInitStruct.PLL.PLLR = RCC_PLLR_DIV2;
  if (HAL_RCC_OscConfig(&RCC_OscInitStruct) != HAL_OK)
  {
    Error_Handler();
  }
  /** Initializes the CPU, AHB and APB buses clocks
  */
  RCC_ClkInitStruct.ClockType = RCC_CLOCKTYPE_HCLK|RCC_CLOCKTYPE_SYSCLK
                              |RCC_CLOCKTYPE_PCLK1|RCC_CLOCKTYPE_PCLK2;
  RCC_ClkInitStruct.SYSCLKSource = RCC_SYSCLKSOURCE_PLLCLK;
  RCC_ClkInitStruct.AHBCLKDivider = RCC_SYSCLK_DIV1;
  RCC_ClkInitStruct.APB1CLKDivider = RCC_HCLK_DIV1;
  RCC_ClkInitStruct.APB2CLKDivider = RCC_HCLK_DIV1;

  if (HAL_RCC_ClockConfig(&RCC_ClkInitStruct, FLASH_LATENCY_4) != HAL_OK)
  {
    Error_Handler();
  }
}

static void MX_SPI1_Init(void)
{

  /* SPI1 parameter configuration*/
  hspi1.Instance = SPI1;
  hspi1.Init.Mode = SPI_MODE_MASTER;
  hspi1.Init.Direction = SPI_DIRECTION_2LINES;
  hspi1.Init.DataSize = SPI_DATASIZE_8BIT;
  hspi1.Init.CLKPolarity = SPI_POLARITY_LOW;
  hspi1.Init.CLKPhase = SPI_PHASE_1EDGE;
  hspi1.Init.NSS = SPI_NSS_SOFT;
  hspi1.Init.BaudRatePrescaler = SPI_BAUDRATEPRESCALER_16;
  hspi1.Init.FirstBit = SPI_FIRSTBIT_MSB;
  hspi1.Init.TIMode = SPI_TIMODE_DISABLE;
  hspi1.Init.CRCCalculation = SPI_CRCCALCULATION_DISABLE;
  hspi1.Init.CRCPolynomial = 7;
  hspi1.Init.CRCLength = SPI_CRC_LENGTH_DATASIZE;
  hspi1.Init.NSSPMode = SPI_NSS_PULSE_ENABLE;
  if (HAL_SPI_Init(&hspi1) != HAL_OK)
  {
    Error_Handler();
  }

}

static void MX_TIM1_Init(void)
{

  TIM_ClockConfigTypeDef sClockSourceConfig = {0};
  TIM_MasterConfigTypeDef sMasterConfig = {0};
  TIM_OC_InitTypeDef sConfigOC = {0};
  TIM_BreakDeadTimeConfigTypeDef sBreakDeadTimeConfig = {0};

  htim1.Instance = TIM1;
  htim1.Init.Prescaler = 0;
  htim1.Init.CounterMode = TIM_COUNTERMODE_UP;
  htim1.Init.Period = 5759;
  htim1.Init.ClockDivision = TIM_CLOCKDIVISION_DIV1;
  htim1.Init.RepetitionCounter = 0;
  htim1.Init.AutoReloadPreload = TIM_AUTORELOAD_PRELOAD_ENABLE;
  if (HAL_TIM_Base_Init(&htim1) != HAL_OK)
  {
    Error_Handler();
  }
  sClockSourceConfig.ClockSource = TIM_CLOCKSOURCE_INTERNAL;
  if (HAL_TIM_ConfigClockSource(&htim1, &sClockSourceConfig) != HAL_OK)
  {
    Error_Handler();
  }
  if (HAL_TIM_PWM_Init(&htim1) != HAL_OK)
  {
    Error_Handler();
  }
  sMasterConfig.MasterOutputTrigger = TIM_TRGO_RESET;
  sMasterConfig.MasterOutputTrigger2 = TIM_TRGO2_RESET;
  sMasterConfig.MasterSlaveMode = TIM_MASTERSLAVEMODE_DISABLE;
  if (HAL_TIMEx_MasterConfigSynchronization(&htim1, &sMasterConfig) != HAL_OK)
  {
    Error_Handler();
  }
  sConfigOC.OCMode = TIM_OCMODE_PWM1;
  sConfigOC.Pulse = 0;
  sConfigOC.OCPolarity = TIM_OCPOLARITY_HIGH;
  sConfigOC.OCNPolarity = TIM_OCNPOLARITY_HIGH;
  sConfigOC.OCFastMode = TIM_OCFAST_DISABLE;
  sConfigOC.OCIdleState = TIM_OCIDLESTATE_RESET;
  sConfigOC.OCNIdleState = TIM_OCNIDLESTATE_RESET;
  if (HAL_TIM_PWM_ConfigChannel(&htim1, &sConfigOC, TIM_CHANNEL_1) != HAL_OK)
  {
    Error_Handler();
  }
  sBreakDeadTimeConfig.OffStateRunMode = TIM_OSSR_DISABLE;
  sBreakDeadTimeConfig.OffStateIDLEMode = TIM_OSSI_DISABLE;
  sBreakDeadTimeConfig.LockLevel = TIM_LOCKLEVEL_OFF;
  sBreakDeadTimeConfig.DeadTime = 0;
  sBreakDeadTimeConfig.BreakState = TIM_BREAK_DISABLE;
  sBreakDeadTimeConfig.BreakPolarity = TIM_BREAKPOLARITY_HIGH;
  sBreakDeadTimeConfig.BreakFilter = 0;
  sBreakDeadTimeConfig.BreakAFMode = TIM_BREAK_AFMODE_INPUT;
  sBreakDeadTimeConfig.Break2State = TIM_BREAK2_DISABLE;
  sBreakDeadTimeConfig.Break2Polarity = TIM_BREAK2POLARITY_HIGH;
  sBreakDeadTimeConfig.Break2Filter = 0;
  sBreakDeadTimeConfig.Break2AFMode = TIM_BREAK_AFMODE_INPUT;
  sBreakDeadTimeConfig.AutomaticOutput = TIM_AUTOMATICOUTPUT_DISABLE;
  if (HAL_TIMEx_ConfigBreakDeadTime(&htim1, &sBreakDeadTimeConfig) != HAL_OK)
  {
    Error_Handler();
  }
  HAL_TIM_MspPostInit(&htim1);

}

static void MX_USART2_UART_Init(void)
{

  /* USER CODE BEGIN USART2_Init 0 */
////
  /* USER CODE END USART2_Init 0 */

  /* USER CODE BEGIN USART2_Init 1 */
////
  /* USER CODE END USART2_Init 1 */
  huart2.Instance = USART2;
  huart2.Init.BaudRate = 115200;
  huart2.Init.WordLength = UART_WORDLENGTH_8B;
  huart2.Init.StopBits = UART_STOPBITS_1;
  huart2.Init.Parity = UART_PARITY_NONE;
  huart2.Init.Mode = UART_MODE_TX_RX;
  huart2.Init.HwFlowCtl = UART_HWCONTROL_NONE;
  huart2.Init.OverSampling = UART_OVERSAMPLING_16;
  huart2.Init.OneBitSampling = UART_ONE_BIT_SAMPLE_DISABLE;
  huart2.Init.ClockPrescaler = UART_PRESCALER_DIV1;
  huart2.AdvancedInit.AdvFeatureInit = UART_ADVFEATURE_NO_INIT;
  if (HAL_UART_Init(&huart2) != HAL_OK)
  {
    Error_Handler();
  }
  if (HAL_UARTEx_SetTxFifoThreshold(&huart2, UART_TXFIFO_THRESHOLD_1_8) != HAL_OK)
  {
    Error_Handler();
  }
  if (HAL_UARTEx_SetRxFifoThreshold(&huart2, UART_RXFIFO_THRESHOLD_1_8) != HAL_OK)
  {
    Error_Handler();
  }
  if (HAL_UARTEx_DisableFifoMode(&huart2) != HAL_OK)
  {
    Error_Handler();
  }
  /* USER CODE BEGIN USART2_Init 2 */
////
  /* USER CODE END USART2_Init 2 */

}

static void MX_GPIO_Init(void)
{
  GPIO_InitTypeDef GPIO_InitStruct = {0};

  /* GPIO Ports Clock Enable */
  __HAL_RCC_GPIOA_CLK_ENABLE();
  __HAL_RCC_GPIOB_CLK_ENABLE();

  /*Configure GPIO pin Output Level */
  HAL_GPIO_WritePin(GPIOA, GPIO_PIN_4, GPIO_PIN_RESET);

  /*Configure GPIO pin Output Level */
  HAL_GPIO_WritePin(LD2_GPIO_Port, LD2_Pin, GPIO_PIN_RESET);

  /*Configure GPIO pin : PA4 */
  GPIO_InitStruct.Pin = GPIO_PIN_4;
  GPIO_InitStruct.Mode = GPIO_MODE_OUTPUT_PP;
  GPIO_InitStruct.Pull = GPIO_NOPULL;
  GPIO_InitStruct.Speed = GPIO_SPEED_FREQ_LOW;
  HAL_GPIO_Init(GPIOA, &GPIO_InitStruct);

  /*Configure GPIO pin : LD2_Pin */
  GPIO_InitStruct.Pin = LD2_Pin;
  GPIO_InitStruct.Mode = GPIO_MODE_OUTPUT_PP;
  GPIO_InitStruct.Pull = GPIO_NOPULL;
  GPIO_InitStruct.Speed = GPIO_SPEED_FREQ_LOW;
  HAL_GPIO_Init(LD2_GPIO_Port, &GPIO_InitStruct);

}

void Error_Handler(void)
{
  __disable_irq();
  while (1)
  {
  }
}
